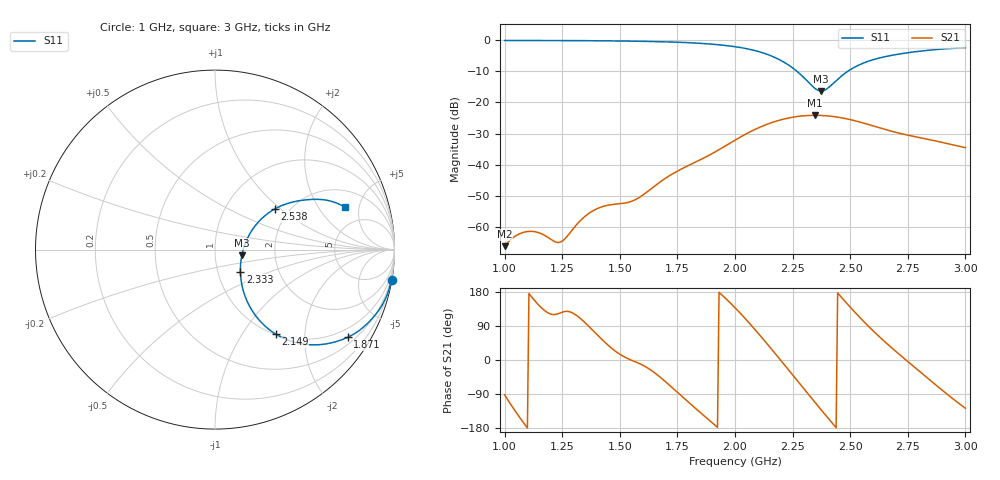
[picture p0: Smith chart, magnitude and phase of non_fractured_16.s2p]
! TOUCHSTONE file generated by CST MICROWAVE STUDIO
! Date and time: Sat Mar  8 13:53:59 2025
! Project name: non_fractured.cst
! Parameters = {B=2.5; D=160; F=5; Feed=2.85625; L=100; M=5; R=0.384908; S=2.5; Theta=270; length=57.125; wave=114.25}
! Header version: 2024
! Port assignment regex: !\s*Touchstone port\s*([0-9]+)\s*=\s*(CST MWS port|CST DES external port|CST DES block port)\s*(.+)\s* \(\"(.*)\"\)(\s*mode\s*([0-9]+))?.*
! Touchstone port assignment:
! Touchstone port 1 = CST MWS port 1 ("")
! Touchstone port 2 = CST MWS port 2 ("")
# GHz S DB R 50
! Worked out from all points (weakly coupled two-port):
!   304 points, 1 GHz to 3 GHz, reference 50 ohm
!   highest |S21| = -24.14 dB at 2.347 GHz (marker M1); lowest = -66.3 dB at 1 GHz (marker M2)
!   lowest |S11| = -16.3 dB at 2.373 GHz (marker M3), VSWR 1.36, Z = 67.4 - j4.5 ohm
!   |S11| at or under -10 dB: 2.269 GHz to 2.489 GHz (219.4 MHz wide, 9.22 % of centre)
!   S12 and S22 are empty: the file has one direction only
!   S11 on the Smith chart (normalised r, x): 1 GHz: 0, -12; 1.871 GHz: 0.70, -3.19; 2.149 GHz: 1.01, -1.43; 2.333 GHz: 1.28, -0.33; 2.538 GHz: 1.69, +0.91; 3 GHz: 3.19, +3.60
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1  -0.02 -9.7  -66.30 -92.1  -200.00 0.0  -200.00 0.0
1.05281  -0.02 -10.5  -62.77 -140.7  -200.00 0.0  -200.00 0.0
1.10561  -0.03 -11.2  -61.54 175.4  -200.00 0.0  -200.00 0.0
1.14521  -0.04 -11.8  -61.89 146.7  -200.00 0.0  -200.00 0.0
1.24422  -0.05 -13.4  -64.92 124.9  -200.00 0.0  -200.00 0.0
1.33663  -0.08 -15.2  -57.50 105.5  -200.00 0.0  -200.00 0.0
1.41584  -0.12 -16.9  -53.79 58.2  -200.00 0.0  -200.00 0.0
1.56106  -0.25 -20.7  -51.55 -3.2  -200.00 0.0  -200.00 0.0
1.66667  -0.41 -24.1  -46.07 -41.1  -200.00 0.0  -200.00 0.0
1.87129  -1.05 -33.5  -37.66 -149.9  -200.00 0.0  -200.00 0.0
2.0033  -2.07 -42.2  -32.00 135.9  -200.00 0.0  -200.00 0.0
2.14851  -4.74 -54.3  -26.77 36.0  -200.00 0.0  -200.00 0.0
2.24092  -8.37 -58.7  -24.88 -32.6  -200.00 0.0  -200.00 0.0
2.33333  -14.57 -40.8  -24.15 -101.7  -200.00 0.0  -200.00 0.0
2.33993  -15.02 -37.1  -24.14 -106.6  -200.00 0.0  -200.00 0.0
2.34653  -15.44 -33.0  -24.14 -111.5  -200.00 0.0  -200.00 0.0
2.37294  -16.32 -12.3  -24.18 -130.9  -200.00 0.0  -200.00 0.0
2.39934  -15.58 8.2  -24.31 -150.1  -200.00 0.0  -200.00 0.0
2.45875  -11.69 30.7  -24.89 167.7  -200.00 0.0  -200.00 0.0
2.53795  -7.92 34.2  -26.23 114.7  -200.00 0.0  -200.00 0.0
2.66997  -4.96 29.2  -29.08 37.5  -200.00 0.0  -200.00 0.0
3  -2.35 18.0  -34.55 -127.5  -200.00 0.0  -200.00 0.0
